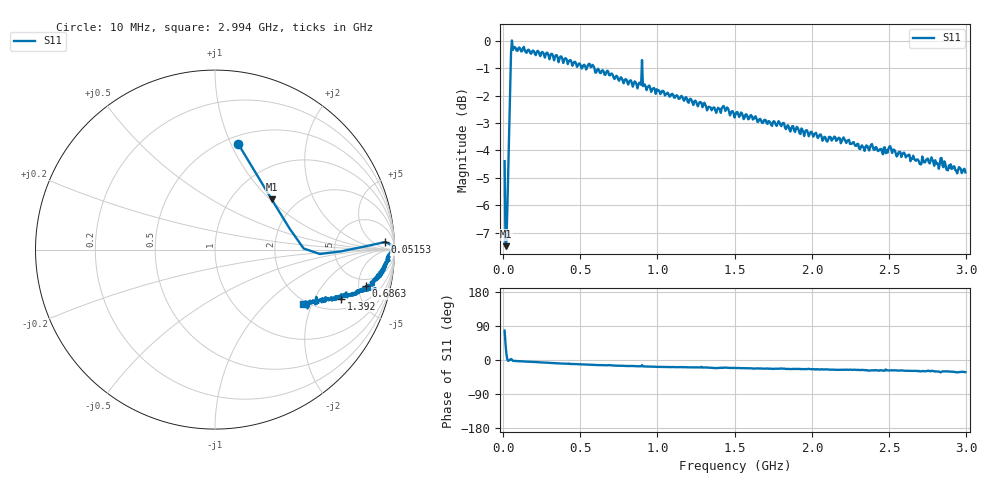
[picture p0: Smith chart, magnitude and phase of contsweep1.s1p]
# HZ S RI R 50
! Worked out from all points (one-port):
!   504 points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, 10 MHz to 2.994 GHz, reference 50 ohm
!   lowest |S11| = -7.5 dB at 15.93 MHz (marker M1), VSWR 2.46, Z = 74.9 + j51.3 ohm
!   |S11| at or under -10 dB: nowhere
!   S11 on the Smith chart (normalised r, x): 10 MHz: 0.58, +1.07; 51.53 MHz: 22, +19; 686.3 MHz: 3.80, -6.12; 1.392 GHz: 2.65, -3.36; 2.994 GHz: 1.89, -1.72
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1e7  0.1291 0.5893
1.593254e7  0.315 0.2812
2.186508e7  0.4162 0.1161
2.779762e7  0.494 0.00612
3.373016e7  0.584 -0.0244
4.559524e7  0.8277 0.0161
5.152778e7  0.9487 0.0423
5.746032e7  1.001 0.0161
6.339286e7  0.9612 -0.0351
6.93254e7  0.9695 -0.0384
1.049206e8  0.9705 -0.0553
3.8375e8  0.9143 -0.1504
5.617262e8  0.8855 -0.1937
6.863096e8  0.8414 -0.2024
7.575e8  0.823 -0.2248
8.820834e8  0.803 -0.2399
8.880159e8  0.8033 -0.2384
8.939485e8  0.7966 -0.2367
9.117461e8  0.7957 -0.2427
9.176786e8  0.7958 -0.2434
1.13125e9  0.7493 -0.257
1.392282e9  0.7033 -0.2733
1.439742e9  0.7004 -0.2531
1.505e9  0.6848 -0.2624
1.87875e9  0.6407 -0.2784
2.2525e9  0.5856 -0.2782
2.62625e9  0.5461 -0.2929
2.994068e9  0.4885 -0.3044
